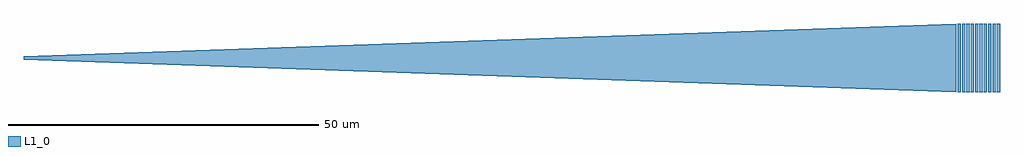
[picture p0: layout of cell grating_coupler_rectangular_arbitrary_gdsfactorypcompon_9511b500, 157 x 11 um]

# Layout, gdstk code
import gdstk
lib = gdstk.Library(unit=1e-6, precision=1e-09)
def R(c, l, rs):  # rectangles x0, y0, x1, y1
    for r in rs: c.add(gdstk.rectangle(r[:2], r[2:], *l))
def A(c, l, x, y, w, h, nx, ny, dx, dy):  # array of equal rectangles
    R(c, l, [(x+i*dx, y+j*dy, x+i*dx+w, y+j*dy+h) for i in range(nx) for j in range(ny)])
def P(c, l, *ps):  # polygons
    for p in ps: c.add(gdstk.Polygon(p, *l))
L1_0 = (1, 0)

taper_gdsfactorypcompone = lib.new_cell('taper_gdsfactorypcomponentsptapersptaper_L150_W0p5_W11__e38806f8')
P(taper_gdsfactorypcompone, L1_0, [(150,-5.5),(0,-0.25),(0,0.25),(150,5.5)])

grating_coupler_rectangu = lib.new_cell('grating_coupler_rectangular_arbitrary_gdsfactorypcompon_9511b500')
A(grating_coupler_rectangu, L1_0, 150.2, -5.5, 0.5, 11, 10, 1, 0.7, 0)
grating_coupler_rectangu.add(gdstk.Reference(taper_gdsfactorypcompone, (0,0)))

lib.write_gds('grating_coupler_rectangular_arbitrary_gdsfactorypcompon_9511b500.gds')
